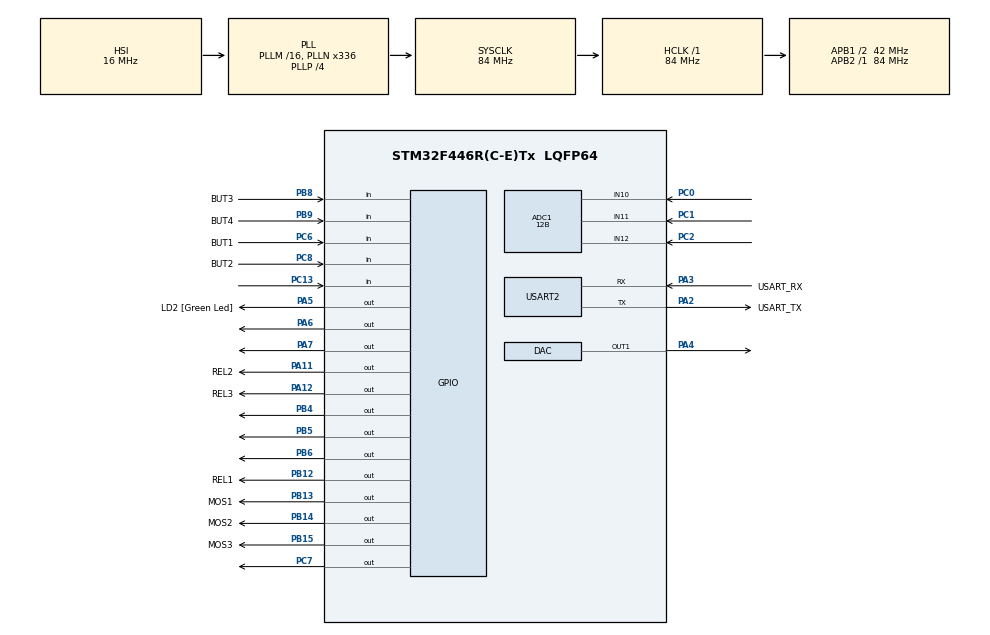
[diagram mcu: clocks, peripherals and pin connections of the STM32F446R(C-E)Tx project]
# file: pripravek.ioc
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ADC1.Channel-0\#ChannelRegularConversion=ADC_CHANNEL_10
ADC1.Channel-1\#ChannelRegularConversion=ADC_CHANNEL_11
ADC1.Channel-2\#ChannelRegularConversion=ADC_CHANNEL_12
ADC1.ContinuousConvMode=ENABLE
ADC1.DataAlign=ADC_DATAALIGN_RIGHT
ADC1.EOCSelection=ADC_EOC_SEQ_CONV
ADC1.ExternalTrigConv=ADC_EXTERNALTRIGCONV_T2_TRGO
ADC1.NbrOfConversion=3
ADC1.NbrOfConversionFlag=1
ADC1.Rank-0\#ChannelRegularConversion=1
ADC1.Rank-1\#ChannelRegularConversion=2
ADC1.Rank-2\#ChannelRegularConversion=3
ADC1.Resolution=ADC_RESOLUTION_12B
ADC1.SamplingTime-0\#ChannelRegularConversion=ADC_SAMPLETIME_15CYCLES
ADC1.SamplingTime-1\#ChannelRegularConversion=ADC_SAMPLETIME_15CYCLES
ADC1.SamplingTime-2\#ChannelRegularConversion=ADC_SAMPLETIME_15CYCLES
ADC1.ScanConvMode=ENABLE
ADC1.master=1
DAC.DAC_Trigger=DAC_TRIGGER_T5_TRGO
Dma.ADC1.1.Direction=DMA_PERIPH_TO_MEMORY
Dma.ADC1.1.FIFOMode=DMA_FIFOMODE_DISABLE
Dma.ADC1.1.Instance=DMA2_Stream0
Dma.ADC1.1.MemDataAlignment=DMA_MDATAALIGN_WORD
Dma.ADC1.1.MemInc=DMA_MINC_ENABLE
Dma.ADC1.1.Mode=DMA_NORMAL
Dma.ADC1.1.PeriphDataAlignment=DMA_PDATAALIGN_WORD
Dma.ADC1.1.PeriphInc=DMA_PINC_DISABLE
Dma.ADC1.1.Priority=DMA_PRIORITY_LOW
Dma.DAC1.0.Direction=DMA_MEMORY_TO_PERIPH
Dma.DAC1.0.FIFOMode=DMA_FIFOMODE_DISABLE
Dma.DAC1.0.Instance=DMA1_Stream5
Dma.DAC1.0.MemDataAlignment=DMA_MDATAALIGN_WORD
Dma.DAC1.0.MemInc=DMA_MINC_ENABLE
Dma.DAC1.0.Mode=DMA_CIRCULAR
Dma.DAC1.0.PeriphDataAlignment=DMA_PDATAALIGN_WORD
Dma.DAC1.0.PeriphInc=DMA_PINC_DISABLE
Dma.DAC1.0.Priority=DMA_PRIORITY_LOW
Dma.Request0=DAC1
Dma.Request1=ADC1
Mcu.Family=STM32F4
Mcu.Name=STM32F446R(C-E)Tx
Mcu.Package=LQFP64
NVIC.DMA1_Stream5_IRQn=true\:0\:0\:false\:false\:true\:false\:true\:true
NVIC.DMA2_Stream0_IRQn=true\:0\:0\:false\:false\:true\:false\:true\:true
NVIC.PriorityGroup=NVIC_PRIORITYGROUP_0
NVIC.TIM2_IRQn=true\:0\:0\:false\:false\:true\:true\:true\:true
NVIC.TIM5_IRQn=true\:0\:0\:false\:false\:true\:true\:true\:true
PA11.GPIO_Label=REL2
PA11.Signal=GPIO_Output
PA12.GPIO_Label=REL3
PA12.Signal=GPIO_Output
PA13.GPIO_Label=TMS
PA13.Mode=Serial_Wire
PA13.Signal=SYS_JTMS-SWDIO
PA14.GPIO_Label=TCK
PA14.Mode=Serial_Wire
PA14.Signal=SYS_JTCK-SWCLK
PA2.GPIO_Label=USART_TX
PA2.Mode=Asynchronous
PA2.Signal=USART2_TX
PA3.GPIO_Label=USART_RX
PA3.Mode=Asynchronous
PA3.Signal=USART2_RX
PA4.Signal=COMP_DAC1_group
PA5.GPIO_Label=LD2 [Green Led]
PA5.Signal=GPIO_Output
PA6.Signal=GPIO_Output
PA7.Signal=GPIO_Output
PB12.GPIO_Label=REL1
PB12.Signal=GPIO_Output
PB13.GPIO_Label=MOS1
PB13.PinState=GPIO_PIN_SET
PB13.Signal=GPIO_Output
PB14.GPIO_Label=MOS2
PB14.PinState=GPIO_PIN_SET
PB14.Signal=GPIO_Output
PB15.GPIO_Label=MOS3
PB15.PinState=GPIO_PIN_SET
PB15.Signal=GPIO_Output
PB4.Signal=GPIO_Output
PB5.Signal=GPIO_Output
PB6.Signal=GPIO_Output
PB8.GPIO_Label=BUT3
PB8.GPIO_PuPd=GPIO_PULLUP
PB8.Signal=GPIO_Input
PB9.GPIO_Label=BUT4
PB9.GPIO_PuPd=GPIO_PULLUP
PB9.Signal=GPIO_Input
PC0.Signal=ADCx_IN10
PC1.Signal=ADCx_IN11
PC13.Signal=GPIO_Input
PC14-OSC32_IN.Mode=LSE-External-Oscillator
PC14-OSC32_IN.Signal=RCC_OSC32_IN
PC15-OSC32_OUT.Mode=LSE-External-Oscillator
PC15-OSC32_OUT.Signal=RCC_OSC32_OUT
PC2.Signal=ADCx_IN12
PC6.GPIO_Label=BUT1
PC6.GPIO_PuPd=GPIO_PULLUP
PC6.Signal=GPIO_Input
PC7.Signal=GPIO_Output
PC8.GPIO_Label=BUT2
PC8.GPIO_PuPd=GPIO_PULLUP
PC8.Signal=GPIO_Input
PH0-OSC_IN.Mode=HSE-External-Oscillator
PH0-OSC_IN.Signal=RCC_OSC_IN
PH1-OSC_OUT.Mode=HSE-External-Oscillator
PH1-OSC_OUT.Signal=RCC_OSC_OUT
ProjectManager.HeapSize=0x200
ProjectManager.StackSize=0x400
ProjectManager.TargetToolchain=STM32CubeIDE
RCC.48MHZClocksFreq_Value=84000000
RCC.AHBFreq_Value=84000000
RCC.APB1CLKDivider=RCC_HCLK_DIV2
RCC.APB1Freq_Value=42000000
RCC.APB1TimFreq_Value=84000000
RCC.APB2Freq_Value=84000000
RCC.APB2TimFreq_Value=84000000
RCC.CortexFreq_Value=84000000
RCC.FLatency-AdvancedSettings=FLASH_LATENCY_2
RCC.HCLKFreq_Value=84000000
RCC.HSE_VALUE=8000000
RCC.HSI_VALUE=16000000
RCC.PLLN=336
RCC.PLLP=RCC_PLLP_DIV4
RCC.SYSCLKFreq_VALUE=84000000
RCC.SYSCLKSource=RCC_SYSCLKSOURCE_PLLCLK
RCC.USBFreq_Value=168000000
RCC.VCOOutputFreq_Value=336000000
SH.ADCx_IN10.0=ADC1_IN10,IN10
SH.ADCx_IN11.0=ADC1_IN11,IN11
SH.ADCx_IN12.0=ADC1_IN12,IN12
SH.COMP_DAC1_group.0=DAC_OUT1,DAC_OUT1
TIM2.Channel-PWM\ Generation1\ No\ Output=TIM_CHANNEL_1
TIM2.Period=1823-1
TIM2.Prescaler=20-1
TIM2.TIM_MasterOutputTrigger=TIM_TRGO_UPDATE
TIM2.TIM_MasterSlaveMode=TIM_MASTERSLAVEMODE_ENABLE
TIM5.Period=20-1
TIM5.Prescaler=21-1
TIM5.TIM_MasterOutputTrigger=TIM_TRGO_UPDATE
USART2.VirtualMode=VM_ASYNC
VP_TIM2_VS_ClockSourceINT.Mode=Internal
VP_TIM2_VS_no_output1.Mode=PWM Generation1 No Output
VP_TIM5_VS_ClockSourceINT.Mode=Internal
board=NUCLEO-F446RE

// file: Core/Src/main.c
/* USER CODE BEGIN Header */
/**
  ******************************************************************************
  * @file           : main.c
  * @brief          : Main program body
  ******************************************************************************
  * @attention
  *
  * Copyright (c) 2024 STMicroelectronics.
  * All rights reserved.
  *
  * This software is licensed under terms that can be found in the LICENSE file
  * in the root directory of this software component.
  * If no LICENSE file comes with this software, it is provided AS-IS.
  *
  ******************************************************************************
  */
/* USER CODE END Header */
#include "main.h"

/* USER CODE BEGIN Includes */
#include "lcd.h"
#include "string.h"
#include "math.h"

#include "consts.h" // vlozi preddefinovane konstanty a datove typy

/* USER CODE END Includes */

ADC_HandleTypeDef hadc1;
DMA_HandleTypeDef hdma_adc1;

DAC_HandleTypeDef hdac;
DMA_HandleTypeDef hdma_dac1;

TIM_HandleTypeDef htim2;
TIM_HandleTypeDef htim5;

UART_HandleTypeDef huart2;

/* USER CODE BEGIN PV */

uint8_t adc_ready = 0; // signalizace dokonceni AD prevodu
uint32_t adc_buffer[ADC_BUF_SIZE]; // pole pro nacteni hodnot z AD prevodniku pomoci DMA

/* USER CODE END PV */

void SystemClock_Config(void);
static void MX_GPIO_Init(void);
static void MX_DMA_Init(void);
static void MX_USART2_UART_Init(void);
static void MX_ADC1_Init(void);
static void MX_DAC_Init(void);
static void MX_TIM2_Init(void);
static void MX_TIM5_Init(void);

/* USER CODE BEGIN 0 */
uint32_t sine120_table[SINE120_NUM_SAMPLES]; // diskretizovana sinusovka 120 Hz pro DA prevodnik
uint32_t sine1k_table[SINE1K_NUM_SAMPLES]; // diskretizovana sinusovka 1 kHz pro DA prevodnik

void calc_sine_table(){
	/* vypocet hodnot diskretizovane sinusovky pro DA prevodnik */
	for (int i = 0; i < SINE120_NUM_SAMPLES; ++i) {
		sine120_table[i] = (uint32_t)(((0.707*sin(i*2*PI/SINE120_NUM_SAMPLES)+1.6)*(4096/3.3)));
	}
	for (int i = 0; i < SINE1K_NUM_SAMPLES; ++i) {
		sine1k_table[i] = (uint32_t)(((1.414*sin(i*2*PI/SINE1K_NUM_SAMPLES)+1.6)*(4096/3.3)));
	}
}

void run_adc(void){
	/* cteni AD prevodniku (vsechny kanaly) a ulozeni hodnot do pameti */
	HAL_ADC_Start_DMA(&hadc1, adc_buffer, ADC_BUF_SIZE);
	while(adc_ready != 1){
		HAL_Delay(1);
	}
	adc_ready = 0;
	HAL_ADC_Stop_DMA(&hadc1);
}

int add_item(MEASLIST* mlist_ptr, float cx_val, float vin_val, int range){
	/* ulozeni dalsi polozky do seznamu namerenych hodnot */
    int idx = (mlist_ptr->save_pos)%ITEMS_LEN;
    mlist_ptr->act_pos = idx;
    mlist_ptr->meas_arr[idx].cx_val = cx_val;
    mlist_ptr->meas_arr[idx].vin_val = vin_val;
    mlist_ptr->meas_arr[idx].range = range;
    mlist_ptr->save_pos++;
    return 0;
}

void erase_mlist(MEASLIST* mlist_ptr){
	/* vynuluje promenne pozic pro ukladani a cteni v seznamu,
	 * puvodni hodnoty seznamu nejsou smazany, ale seznam se pak
	 * chova jako prazdny */
	mlist_ptr->act_pos = 0;
	mlist_ptr->save_pos = 0;
}

int read_buttons(){
	/* cteni stavu tlacitek */
	int ret = 0;
	if (!HAL_GPIO_ReadPin(BUT1_GPIO_Port, BUT1_Pin)){
		ret = BUTTON1; //stisknuto prvni tlacitko -> nove mereni
	}
	else if(!HAL_GPIO_ReadPin(BUT2_GPIO_Port, BUT2_Pin)){
		ret = BUTTON2; //stisknuto druhe tlacitko -> dalsi mereni
	}
	else if(!HAL_GPIO_ReadPin(BUT3_GPIO_Port, BUT3_Pin)){
		ret = BUTTON3; //stisknuto treti tlacitko -> posun nahoru
	}
	else if(!HAL_GPIO_ReadPin(BUT4_GPIO_Port, BUT4_Pin)){
		ret = BUTTON4; //stisknuto ctvrte tlacitko -> posun dolu
	}
	return ret;
}

void discharge_cap(void){
	/* vybiti mereneho kondenzatoru a kondenzátoru na integracnich clancich
	 * na vystupu operacnich usmernovacu */
	HAL_GPIO_WritePin(MOS1_GPIO_Port, MOS1_Pin|MOS2_Pin|MOS3_Pin, GPIO_PIN_SET);
	HAL_Delay(500);
	HAL_GPIO_WritePin(MOS1_GPIO_Port, MOS1_Pin|MOS2_Pin|MOS3_Pin, GPIO_PIN_RESET);
}

void start_sine_gen(int rng){
	/* generovani sinusovky pomoci DA prevodniku, 1 kHz nebo 120 Hz
	 * podle rozsahu */
	HAL_DAC_Stop(&hdac, DAC_CHANNEL_1);
	if(rng == RNG1){
		HAL_DAC_Start_DMA(&hdac, DAC_CHANNEL_1, sine1k_table, SINE1K_NUM_SAMPLES, DAC_ALIGN_12B_R);
	}
	else if(rng == RNG2){
		HAL_DAC_Start_DMA(&hdac, DAC_CHANNEL_1, sine120_table, SINE120_NUM_SAMPLES, DAC_ALIGN_12B_R);
	}
}

void stop_sine_gen(void){
	/* ukonceni generovani sinusovky pomoci AD prevodniku */
	HAL_DAC_Stop_DMA(&hdac, DAC1_CHANNEL_1);
	HAL_DAC_Start(&hdac, DAC_CHANNEL_1);
	HAL_DAC_SetValue(&hdac, DAC_CHANNEL_1, DAC_ALIGN_12B_R, 2048);
}

float calculate_cx(int rng){
	/* vypocet kapacity mereneho kondenzatoru z napeti merenych
	 * AD prevodnikem*/
	uint32_t ADC_val[] = {0,0};
	run_adc();
	HAL_Delay(10);
	for(int i = 0; i < ADC_BUF_SIZE/3; i++){
		for(int j = 0; j < 2; j++){
			ADC_val[j]+= adc_buffer[i*3+j+1];
		}
	}
	float c1_val = rng == 1 ? C1_RNG1 : C1_RNG2; // volba kapacity etalonu dle rozsahu
	float cx_val = c1_val*((float)ADC_val[0]/ADC_val[1]-1);
	return cx_val;
}

void charge_cx(void){
	/* nabiti mereneho kondenzatoru na hodnotu stejnosmerneho predpeti */
	HAL_GPIO_WritePin(REL1_GPIO_Port, REL1_Pin, GPIO_PIN_SET); // pripojeni ss napeti
	HAL_GPIO_WritePin(REL2_GPIO_Port, REL2_Pin, GPIO_PIN_SET); // nabijeni pres maly odpor
	HAL_Delay(2000);
	HAL_GPIO_WritePin(REL2_GPIO_Port, REL2_Pin, GPIO_PIN_RESET);
	HAL_Delay(20);
}

int get_range(int cx_val){
	/* automaticka volba mericiho rozsahu podle kapacity pri nulovem
	 * stejnosmernem predpeti */
	int ret = 0;
	if(1.0 <= cx_val && cx_val <= 10.0){
		ret = RNG1;
	}
	else if(10.0 < cx_val && cx_val <= 100.0){
		ret = RNG2;
	}
	return ret;
}

int disp_act(Lcd_HandleTypeDef* lcd_ptr, MEASLIST* mlist_ptr){
	/* vypsani aktualni zmerene hodnoty na displej */
	int ret = 1;
	if(mlist_ptr->save_pos != 0){
		char outstr[17];
		int idx = mlist_ptr->act_pos;
		MEAS_ITEM M_item = mlist_ptr->meas_arr[idx];
		sprintf(outstr, "C: %5.2f uF     ", M_item.cx_val);
		Lcd_cursor(lcd_ptr, 0,0);
		Lcd_string(lcd_ptr, outstr);
		Lcd_cursor(lcd_ptr, 1,0);
		sprintf(outstr, "U: %5.2f V  RNG%d", M_item.vin_val, M_item.range);
		Lcd_string(lcd_ptr, outstr);
		ret = 0;
	}
	return ret;
}

void disp_oor(Lcd_HandleTypeDef* lcd_ptr){
	// vypsani chybove hlasky na displej
	Lcd_cursor(lcd_ptr, 0,0);
	Lcd_string(lcd_ptr, "Kapacita mimo   ");
	Lcd_cursor(lcd_ptr, 1,0);
	Lcd_string(lcd_ptr, "rozsah!         ");
}

int move_up(Lcd_HandleTypeDef* lcd_ptr, MEASLIST* mlist_ptr){
	/* posun v seznamu namerenych hodnot o uroven vyse */
	if(mlist_ptr->save_pos != 0){
		int items_cnt = mlist_ptr->save_pos < ITEMS_LEN ? mlist_ptr->save_pos: ITEMS_LEN;
		int idx = mlist_ptr->act_pos;
		idx = (idx+1)%items_cnt;
		mlist_ptr->act_pos = idx;
	}
	disp_act(lcd_ptr, mlist_ptr);
	HAL_Delay(500);
    return 0;
}

int move_down(Lcd_HandleTypeDef* lcd_ptr,MEASLIST* mlist_ptr){
	/* posun v seznamu namerenych hodnot o uroven nize */
	if(mlist_ptr->save_pos != 0){
		int items_cnt = mlist_ptr->save_pos < ITEMS_LEN ? mlist_ptr->save_pos: ITEMS_LEN;
		int idx = mlist_ptr->act_pos;
		idx = (idx-1)%items_cnt < 0 ? items_cnt-1 : (idx-1)%items_cnt;
		mlist_ptr->act_pos = idx;
	}
	disp_act(lcd_ptr, mlist_ptr);
	HAL_Delay(500);
    return 0;
}

float measure_vin(void){
	/* mereni stejnosmerneho predpeti 0-30 V */
	uint32_t ADC_sum = 0;
		run_adc();
		HAL_Delay(10);
		for(int i = 0; i < ADC_BUF_SIZE/3; i++){
			ADC_sum += adc_buffer[i*3];
		}
	float ret = ADC_sum*((DELIC_UIN*3.3)/(ADC_RNG*64));
	return ret;
}

void set_range(int rng){
	/* volba kapacitniho etalonu podle aktualniho rozsahu */
	if (rng == RNG2) HAL_GPIO_WritePin(REL3_GPIO_Port, REL3_Pin, GPIO_PIN_SET); // pripoji kondenzotor 47 uf
}

void relay_off(){
	/* vypnuti vsech rele - odpojeni zdroje ss predpeti,
	 * odpojeni kapacitniho etalonu pro rozsah 10-100 uF */
	HAL_GPIO_WritePin(REL1_GPIO_Port, REL1_Pin, GPIO_PIN_RESET);
	HAL_GPIO_WritePin(REL2_GPIO_Port, REL2_Pin, GPIO_PIN_RESET);
	HAL_GPIO_WritePin(REL3_GPIO_Port, REL3_Pin, GPIO_PIN_RESET);
}

int measure_cx0_helper(int* range, float* cx_val){
	/* pomocna funkce pro proces mereni kapacity pri novem mereni */
	int rng = *range != 0 ? *range : RNG2;
	discharge_cap(); //vybiti vsech kondenzatoru
	set_range(rng);
	start_sine_gen(rng);
	HAL_Delay(SIN_GEN_DELAY);
	*cx_val = calculate_cx(rng);	// mereni napeti, vypocet kaapcty
	stop_sine_gen();
	relay_off();
	*range = get_range(*cx_val);
	return 0;
}

int measure_cx0(int* range, float* cx_val){
	/* proces mereni kapacity pri novem mereni, nejprve probehne mereni
	 * pri nejvyssim rozsahu 10-100 uF, pokud je kapacity nizsi, probehne
	 * jeste presnejsi mereni pri rozsahu 1-10 uF */
	measure_cx0_helper(range, cx_val);
	  if (*range == RNG1){
		  measure_cx0_helper(range, cx_val);
	  }
	return 0;
}

int measure_cx_vin(int* range, float* cx_val, float* vin_val){
	/* proces mereni pro mereni pri nastavenem stejnosmernem predpeti,
	 * pouziva se pouze pokud byl predtim automaticky zvolem vhodny rozsah */
	if (*range != 0){
		discharge_cap();
		set_range(*range);
		charge_cx();
		*vin_val = measure_vin();
		start_sine_gen(*range);
		HAL_Delay(SIN_GEN_DELAY);
		*cx_val = calculate_cx(*range);
		stop_sine_gen();
		relay_off();
	}
	return 0;

}

void disp_and_save_cx0(int* range, float* cx_val, Lcd_HandleTypeDef* lcd_ptr, MEASLIST* mlist_ptr){
	/* zobrazeni vysledku mereni na displeji a ulozeni do seznamu merenych hodnot
	 * pro 'nove mereni', pred ulozenim jsou predchozi hodnoty seznamu smazany */
	if(*range != 0){
	  erase_mlist(mlist_ptr);
	  add_item(mlist_ptr, *cx_val, 0.0, *range);
	  disp_act(lcd_ptr, mlist_ptr);
	}
	else{
	  disp_oor(lcd_ptr);  // zobrazi se chybova hlaska "kapacita mimo rozsah"
	}
}

void disp_and_save(int* range, float* cx_val,  float* vin_val, Lcd_HandleTypeDef* lcd_ptr, MEASLIST* mlist_ptr){
	/* zobrazeni vysledku mereni na displeji a ulozeni do seznamu merenych hodnot,
	 * pouziva se pro 'dalsi mereni' */
	if (*range != 0){
	  add_item(mlist_ptr, *cx_val, *vin_val, *range);
	  disp_act(lcd_ptr, mlist_ptr);
	}
}

/* USER CODE END 0 */

int main(void)
{

  /* MCU Configuration--------------------------------------------------------*/

  /* Reset of all peripherals, Initializes the Flash interface and the Systick. */
  HAL_Init();

  /* Configure the system clock */
  SystemClock_Config();

  /* Initialize all configured peripherals */
  MX_GPIO_Init();
  MX_DMA_Init();
  MX_USART2_UART_Init();
  MX_ADC1_Init();
  MX_DAC_Init();
  MX_TIM2_Init();
  MX_TIM5_Init();
  /* USER CODE BEGIN 2 */

  HAL_DAC_Start(&hdac, DAC_CHANNEL_1);
  HAL_DAC_SetValue(&hdac, DAC_CHANNEL_1, DAC_ALIGN_12B_R, 2048); // nastaveni vystupni hodnoty DA prevodniku na polovinu rozsahu

  HAL_TIM_Base_Start(&htim5);
  HAL_TIM_Base_Start(&htim2);

  calc_sine_table(); // vypocet tabulky s hodnotami sinusovky pro DA prevodnik

  Lcd_PortType ports[] = { GPIOC, GPIOB, GPIOA, GPIOA }; // porty pro pripojeni LCD
  Lcd_PinType pins[] = {GPIO_PIN_7, GPIO_PIN_6, GPIO_PIN_7, GPIO_PIN_6}; // piny pro pripojeni LCD
  Lcd_HandleTypeDef lcd;
  lcd = Lcd_create(ports, pins, GPIOB, GPIO_PIN_5, GPIOB, GPIO_PIN_4, LCD_4_BIT_MODE); // inicializace LCD, prirazeni do "handle" instance

  MEASLIST mlist;	// seznam namerenych hodnot
  erase_mlist(&mlist);	// inicializace seznamu pro ukladani namerenych hodnot

  int range = 0;	// informace o aktualnim mericim rozsahu
  float cx_val;	// vysledna hodnota kapacity
  float vin_val;	// hodnota stejnosmerneho predpeti

  /* USER CODE END 2 */

  /* Infinite loop */
  /* USER CODE BEGIN WHILE */
  while (1)
  {
	  /* // nacteni stavu tlacitek a provedeni akce podle toho,
	   * ktere tlacitko je stisknuto */
	  switch (read_buttons()) {
	    case BUTTON1: // nove mereni (prvni mereni nebo mereni s novym kondenzatorem)
	      measure_cx0(&range, &cx_val);
	      disp_and_save_cx0(&range, &cx_val, &lcd, &mlist);
	      break;
	    case BUTTON2: // dalsi mereni (mereni se stejnym kondenzatorem pri jinem napeti)
	    	measure_cx_vin(&range, &cx_val, &vin_val);
	    	disp_and_save(&range, &cx_val, &vin_val, &lcd, &mlist);
	      break;
	    case BUTTON3: // posun v seznamu namerenych hodnot o uroven vyse
	    	move_up(&lcd, &mlist);
	      break;
	    case BUTTON4: // posun v seznamu namerenych hodnot o uroven nize
	    	move_down(&lcd, &mlist);
	      break;
	  }

	  HAL_Delay(10);

    /* USER CODE END WHILE */

  }
}

void SystemClock_Config(void)
{
  RCC_OscInitTypeDef RCC_OscInitStruct = {0};
  RCC_ClkInitTypeDef RCC_ClkInitStruct = {0};

  /** Configure the main internal regulator output voltage
  */
  __HAL_RCC_PWR_CLK_ENABLE();
  __HAL_PWR_VOLTAGESCALING_CONFIG(PWR_REGULATOR_VOLTAGE_SCALE3);

  /** Initializes the RCC Oscillators according to the specified parameters
  * in the RCC_OscInitTypeDef structure.
  */
  RCC_OscInitStruct.OscillatorType = RCC_OSCILLATORTYPE_HSI;
  RCC_OscInitStruct.HSIState = RCC_HSI_ON;
  RCC_OscInitStruct.HSICalibrationValue = RCC_HSICALIBRATION_DEFAULT;
  RCC_OscInitStruct.PLL.PLLState = RCC_PLL_ON;
  RCC_OscInitStruct.PLL.PLLSource = RCC_PLLSOURCE_HSI;
  RCC_OscInitStruct.PLL.PLLM = 16;
  RCC_OscInitStruct.PLL.PLLN = 336;
  RCC_OscInitStruct.PLL.PLLP = RCC_PLLP_DIV4;
  RCC_OscInitStruct.PLL.PLLQ = 2;
  RCC_OscInitStruct.PLL.PLLR = 2;
  if (HAL_RCC_OscConfig(&RCC_OscInitStruct) != HAL_OK)
  {
    Error_Handler();
  }

  /** Initializes the CPU, AHB and APB buses clocks
  */
  RCC_ClkInitStruct.ClockType = RCC_CLOCKTYPE_HCLK|RCC_CLOCKTYPE_SYSCLK
                              |RCC_CLOCKTYPE_PCLK1|RCC_CLOCKTYPE_PCLK2;
  RCC_ClkInitStruct.SYSCLKSource = RCC_SYSCLKSOURCE_PLLCLK;
  RCC_ClkInitStruct.AHBCLKDivider = RCC_SYSCLK_DIV1;
  RCC_ClkInitStruct.APB1CLKDivider = RCC_HCLK_DIV2;
  RCC_ClkInitStruct.APB2CLKDivider = RCC_HCLK_DIV1;

  if (HAL_RCC_ClockConfig(&RCC_ClkInitStruct, FLASH_LATENCY_2) != HAL_OK)
  {
    Error_Handler();
  }
}

static void MX_ADC1_Init(void)
{

  ADC_ChannelConfTypeDef sConfig = {0};

  /** Configure the global features of the ADC (Clock, Resolution, Data Alignment and number of conversion)
  */
  hadc1.Instance = ADC1;
  hadc1.Init.ClockPrescaler = ADC_CLOCK_SYNC_PCLK_DIV4;
  hadc1.Init.Resolution = ADC_RESOLUTION_12B;
  hadc1.Init.ScanConvMode = ENABLE;
  hadc1.Init.ContinuousConvMode = ENABLE;
  hadc1.Init.DiscontinuousConvMode = DISABLE;
  hadc1.Init.ExternalTrigConvEdge = ADC_EXTERNALTRIGCONVEDGE_RISING;
  hadc1.Init.ExternalTrigConv = ADC_EXTERNALTRIGCONV_T2_TRGO;
  hadc1.Init.DataAlign = ADC_DATAALIGN_RIGHT;
  hadc1.Init.NbrOfConversion = 3;
  hadc1.Init.DMAContinuousRequests = DISABLE;
  hadc1.Init.EOCSelection = ADC_EOC_SEQ_CONV;
  if (HAL_ADC_Init(&hadc1) != HAL_OK)
  {
    Error_Handler();
  }

  /** Configure for the selected ADC regular channel its corresponding rank in the sequencer and its sample time.
  */
  sConfig.Channel = ADC_CHANNEL_10;
  sConfig.Rank = 1;
  sConfig.SamplingTime = ADC_SAMPLETIME_15CYCLES;
  if (HAL_ADC_ConfigChannel(&hadc1, &sConfig) != HAL_OK)
  {
    Error_Handler();
  }

  /** Configure for the selected ADC regular channel its corresponding rank in the sequencer and its sample time.
  */
  sConfig.Channel = ADC_CHANNEL_11;
  sConfig.Rank = 2;
  if (HAL_ADC_ConfigChannel(&hadc1, &sConfig) != HAL_OK)
  {
    Error_Handler();
  }

  /** Configure for the selected ADC regular channel its corresponding rank in the sequencer and its sample time.
  */
  sConfig.Channel = ADC_CHANNEL_12;
  sConfig.Rank = 3;
  if (HAL_ADC_ConfigChannel(&hadc1, &sConfig) != HAL_OK)
  {
    Error_Handler();
  }

}

static void MX_DAC_Init(void)
{

  DAC_ChannelConfTypeDef sConfig = {0};

  /** DAC Initialization
  */
  hdac.Instance = DAC;
  if (HAL_DAC_Init(&hdac) != HAL_OK)
  {
    Error_Handler();
  }

  /** DAC channel OUT1 config
  */
  sConfig.DAC_Trigger = DAC_TRIGGER_T5_TRGO;
  sConfig.DAC_OutputBuffer = DAC_OUTPUTBUFFER_ENABLE;
  if (HAL_DAC_ConfigChannel(&hdac, &sConfig, DAC_CHANNEL_1) != HAL_OK)
  {
    Error_Handler();
  }

}

static void MX_TIM2_Init(void)
{

  TIM_ClockConfigTypeDef sClockSourceConfig = {0};
  TIM_MasterConfigTypeDef sMasterConfig = {0};
  TIM_OC_InitTypeDef sConfigOC = {0};

  htim2.Instance = TIM2;
  htim2.Init.Prescaler = 20-1;
  htim2.Init.CounterMode = TIM_COUNTERMODE_UP;
  htim2.Init.Period = 1823-1;
  htim2.Init.ClockDivision = TIM_CLOCKDIVISION_DIV1;
  htim2.Init.AutoReloadPreload = TIM_AUTORELOAD_PRELOAD_DISABLE;
  if (HAL_TIM_Base_Init(&htim2) != HAL_OK)
  {
    Error_Handler();
  }
  sClockSourceConfig.ClockSource = TIM_CLOCKSOURCE_INTERNAL;
  if (HAL_TIM_ConfigClockSource(&htim2, &sClockSourceConfig) != HAL_OK)
  {
    Error_Handler();
  }
  if (HAL_TIM_PWM_Init(&htim2) != HAL_OK)
  {
    Error_Handler();
  }
  sMasterConfig.MasterOutputTrigger = TIM_TRGO_UPDATE;
  sMasterConfig.MasterSlaveMode = TIM_MASTERSLAVEMODE_ENABLE;
  if (HAL_TIMEx_MasterConfigSynchronization(&htim2, &sMasterConfig) != HAL_OK)
  {
    Error_Handler();
  }
  sConfigOC.OCMode = TIM_OCMODE_PWM1;
  sConfigOC.Pulse = 0;
  sConfigOC.OCPolarity = TIM_OCPOLARITY_HIGH;
  sConfigOC.OCFastMode = TIM_OCFAST_DISABLE;
  if (HAL_TIM_PWM_ConfigChannel(&htim2, &sConfigOC, TIM_CHANNEL_1) != HAL_OK)
  {
    Error_Handler();
  }

}

static void MX_TIM5_Init(void)
{

  TIM_ClockConfigTypeDef sClockSourceConfig = {0};
  TIM_MasterConfigTypeDef sMasterConfig = {0};

  htim5.Instance = TIM5;
  htim5.Init.Prescaler = 21-1;
  htim5.Init.CounterMode = TIM_COUNTERMODE_UP;
  htim5.Init.Period = 20-1;
  htim5.Init.ClockDivision = TIM_CLOCKDIVISION_DIV1;
  htim5.Init.AutoReloadPreload = TIM_AUTORELOAD_PRELOAD_DISABLE;
  if (HAL_TIM_Base_Init(&htim5) != HAL_OK)
  {
    Error_Handler();
  }
  sClockSourceConfig.ClockSource = TIM_CLOCKSOURCE_INTERNAL;
  if (HAL_TIM_ConfigClockSource(&htim5, &sClockSourceConfig) != HAL_OK)
  {
    Error_Handler();
  }
  sMasterConfig.MasterOutputTrigger = TIM_TRGO_UPDATE;
  sMasterConfig.MasterSlaveMode = TIM_MASTERSLAVEMODE_DISABLE;
  if (HAL_TIMEx_MasterConfigSynchronization(&htim5, &sMasterConfig) != HAL_OK)
  {
    Error_Handler();
  }

}

static void MX_USART2_UART_Init(void)
{

  huart2.Instance = USART2;
  huart2.Init.BaudRate = 115200;
  huart2.Init.WordLength = UART_WORDLENGTH_8B;
  huart2.Init.StopBits = UART_STOPBITS_1;
  huart2.Init.Parity = UART_PARITY_NONE;
  huart2.Init.Mode = UART_MODE_TX_RX;
  huart2.Init.HwFlowCtl = UART_HWCONTROL_NONE;
  huart2.Init.OverSampling = UART_OVERSAMPLING_16;
  if (HAL_UART_Init(&huart2) != HAL_OK)
  {
    Error_Handler();
  }

}

static void MX_DMA_Init(void)
{

  /* DMA controller clock enable */
  __HAL_RCC_DMA1_CLK_ENABLE();
  __HAL_RCC_DMA2_CLK_ENABLE();

  /* DMA interrupt init */
  /* DMA1_Stream5_IRQn interrupt configuration */
  HAL_NVIC_SetPriority(DMA1_Stream5_IRQn, 0, 0);
  HAL_NVIC_EnableIRQ(DMA1_Stream5_IRQn);
  /* DMA2_Stream0_IRQn interrupt configuration */
  HAL_NVIC_SetPriority(DMA2_Stream0_IRQn, 0, 0);
  HAL_NVIC_EnableIRQ(DMA2_Stream0_IRQn);

}

static void MX_GPIO_Init(void)
{
  GPIO_InitTypeDef GPIO_InitStruct = {0};

  /* GPIO Ports Clock Enable */
  __HAL_RCC_GPIOC_CLK_ENABLE();
  __HAL_RCC_GPIOH_CLK_ENABLE();
  __HAL_RCC_GPIOA_CLK_ENABLE();
  __HAL_RCC_GPIOB_CLK_ENABLE();

  /*Configure GPIO pin Output Level */
  HAL_GPIO_WritePin(GPIOA, LD2_Pin|GPIO_PIN_6|GPIO_PIN_7|REL2_Pin
                          |REL3_Pin, GPIO_PIN_RESET);

  /*Configure GPIO pin Output Level */
  HAL_GPIO_WritePin(GPIOB, REL1_Pin|GPIO_PIN_4|GPIO_PIN_5|GPIO_PIN_6, GPIO_PIN_RESET);

  /*Configure GPIO pin Output Level */
  HAL_GPIO_WritePin(GPIOB, MOS1_Pin|MOS2_Pin|MOS3_Pin, GPIO_PIN_SET);

  /*Configure GPIO pin Output Level */
  HAL_GPIO_WritePin(GPIOC, GPIO_PIN_7, GPIO_PIN_RESET);

  /*Configure GPIO pin : PC13 */
  GPIO_InitStruct.Pin = GPIO_PIN_13;
  GPIO_InitStruct.Mode = GPIO_MODE_INPUT;
  GPIO_InitStruct.Pull = GPIO_NOPULL;
  HAL_GPIO_Init(GPIOC, &GPIO_InitStruct);

  /*Configure GPIO pins : LD2_Pin PA6 PA7 REL2_Pin
                           REL3_Pin */
  GPIO_InitStruct.Pin = LD2_Pin|GPIO_PIN_6|GPIO_PIN_7|REL2_Pin
                          |REL3_Pin;
  GPIO_InitStruct.Mode = GPIO_MODE_OUTPUT_PP;
  GPIO_InitStruct.Pull = GPIO_NOPULL;
  GPIO_InitStruct.Speed = GPIO_SPEED_FREQ_LOW;
  HAL_GPIO_Init(GPIOA, &GPIO_InitStruct);

  /*Configure GPIO pins : REL1_Pin MOS1_Pin MOS2_Pin MOS3_Pin
                           PB4 PB5 PB6 */
  GPIO_InitStruct.Pin = REL1_Pin|MOS1_Pin|MOS2_Pin|MOS3_Pin
                          |GPIO_PIN_4|GPIO_PIN_5|GPIO_PIN_6;
  GPIO_InitStruct.Mode = GPIO_MODE_OUTPUT_PP;
  GPIO_InitStruct.Pull = GPIO_NOPULL;
  GPIO_InitStruct.Speed = GPIO_SPEED_FREQ_LOW;
  HAL_GPIO_Init(GPIOB, &GPIO_InitStruct);

  /*Configure GPIO pins : BUT1_Pin BUT2_Pin */
  GPIO_InitStruct.Pin = BUT1_Pin|BUT2_Pin;
  GPIO_InitStruct.Mode = GPIO_MODE_INPUT;
  GPIO_InitStruct.Pull = GPIO_PULLUP;
  HAL_GPIO_Init(GPIOC, &GPIO_InitStruct);

  /*Configure GPIO pin : PC7 */
  GPIO_InitStruct.Pin = GPIO_PIN_7;
  GPIO_InitStruct.Mode = GPIO_MODE_OUTPUT_PP;
  GPIO_InitStruct.Pull = GPIO_NOPULL;
  GPIO_InitStruct.Speed = GPIO_SPEED_FREQ_LOW;
  HAL_GPIO_Init(GPIOC, &GPIO_InitStruct);

  /*Configure GPIO pins : BUT3_Pin BUT4_Pin */
  GPIO_InitStruct.Pin = BUT3_Pin|BUT4_Pin;
  GPIO_InitStruct.Mode = GPIO_MODE_INPUT;
  GPIO_InitStruct.Pull = GPIO_PULLUP;
  HAL_GPIO_Init(GPIOB, &GPIO_InitStruct);

}

/* USER CODE BEGIN 4 */

void HAL_ADC_ConvCpltCallback(ADC_HandleTypeDef* hadc)
{
  /* Prevent unused argument(s) compilation warning */
  UNUSED(hadc);
  adc_ready = 1;
  HAL_ADC_Stop_DMA(&hadc1);
  /* NOTE : This function Should not be modified, when the callback is needed,
            the HAL_ADC_ConvCpltCallback could be implemented in the user file
   */
}

/* USER CODE END 4 */

void Error_Handler(void)
{
  __disable_irq();
  while (1)
  {
  }
}
